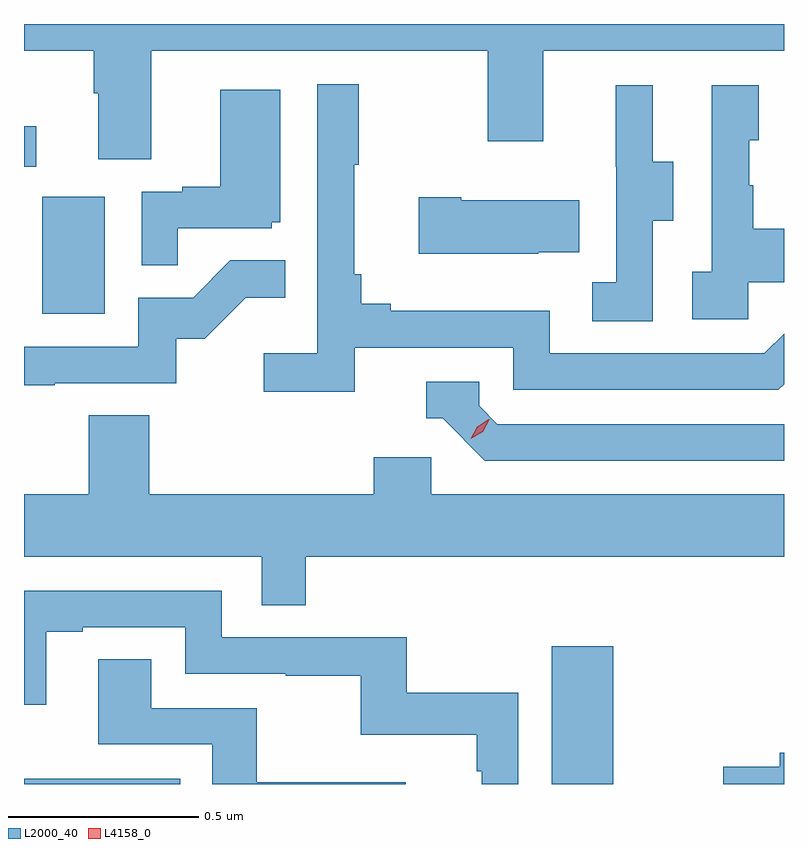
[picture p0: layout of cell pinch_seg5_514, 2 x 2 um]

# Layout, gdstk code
import gdstk
lib = gdstk.Library(unit=1e-6, precision=1e-09)
def R(c, l, rs):  # rectangles x0, y0, x1, y1
    for r in rs: c.add(gdstk.rectangle(r[:2], r[2:], *l))
def P(c, l, *ps):  # polygons
    for p in ps: c.add(gdstk.Polygon(p, *l))
L2000_40 = (2000, 40)
L4158_0 = (4158, 0)

pinch_seg5_514 = lib.new_cell('pinch_seg5_514')
R(pinch_seg5_514, L2000_40, [(937.166,849.502,937.577,849.516), (938.555,849.502,938.716,849.865), (937.214,850.74,937.378,851.047), (937.166,851.127,937.198,851.233)])
P(pinch_seg5_514, L2000_40, [(937.501,851.432),(938.386,851.432),(938.386,851.193),(938.533,851.193),(938.533,851.432),(939.166,851.432),(939.166,851.502),(937.166,851.502),(937.166,851.432),(937.349,851.432),(937.349,851.32),(937.361,851.32),(937.361,851.146),(937.501,851.146)],
  [(938.036,850.65),(938.454,850.65),(938.454,850.539),(939.151,850.539),(939.166,850.554),(939.166,850.687),(939.114,850.635),(938.55,850.635),(938.55,850.747),(938.131,850.747),(938.131,850.766),(938.054,850.766),(938.054,850.843),(938.035,850.843),(938.035,851.131),(938.047,851.131),(938.047,851.344),(937.938,851.344),(937.938,850.636),(937.797,850.636),(937.797,850.534),(938.036,850.534)],
  [(939.072,850.823),(939.166,850.823),(939.166,850.963),(939.085,850.963),(939.085,851.078),(939.075,851.078),(939.075,851.196),(939.1,851.196),(939.1,851.341),(938.976,851.341),(938.976,850.85),(938.925,850.85),(938.925,850.725),(939.072,850.725)],
  [(938.82,850.984),(938.875,850.984),(938.875,851.139),(938.821,851.139),(938.821,851.341),(938.723,851.341),(938.723,851.127),(938.724,851.127),(938.724,850.823),(938.661,850.823),(938.661,850.72),(938.82,850.72)],
  [(937.571,850.965),(937.818,850.965),(937.818,850.98),(937.84,850.98),(937.84,851.329),(937.682,851.329),(937.682,851.074),(937.583,851.074),(937.583,851.061),(937.476,851.061),(937.476,850.867),(937.571,850.867)],
  [(938.519,850.901),(938.627,850.901),(938.627,851.038),(938.317,851.038),(938.317,851.046),(938.205,851.046),(938.205,850.898),(938.519,850.898)],
  [(937.247,850.557),(937.566,850.557),(937.566,850.674),(937.642,850.674),(937.749,850.781),(937.853,850.781),(937.853,850.88),(937.709,850.88),(937.611,850.782),(937.467,850.782),(937.467,850.653),(937.166,850.653),(937.166,850.552),(937.247,850.552)],
  [(939.166,850.449),(938.412,850.449),(938.364,850.497),(938.364,850.56),(938.225,850.56),(938.225,850.464),(938.268,850.464),(938.379,850.353),(939.166,850.353)],
  [(937.907,850.1),(939.166,850.1),(939.166,850.264),(938.238,850.264),(938.238,850.362),(938.087,850.362),(938.087,850.264),(937.496,850.264),(937.496,850.472),(937.336,850.472),(937.336,850.264),(937.166,850.264),(937.166,850.1),(937.791,850.1),(937.791,849.973),(937.907,849.973)],
  [(938.466,849.742),(938.173,849.742),(938.173,849.888),(937.686,849.888),(937.686,850.011),(937.166,850.011),(937.166,849.71),(937.225,849.71),(937.225,849.903),(937.321,849.903),(937.321,849.915),(937.59,849.915),(937.59,849.792),(937.855,849.792),(937.855,849.787),(938.052,849.787),(938.052,849.632),(938.357,849.632),(938.357,849.536),(938.37,849.536),(938.37,849.502),(938.466,849.502)],
  [(938.171,849.506),(937.778,849.506),(937.778,849.702),(937.501,849.702),(937.501,849.83),(937.361,849.83),(937.361,849.606),(937.662,849.606),(937.662,849.502),(938.171,849.502)],
  [(939.166,849.584),(939.155,849.584),(939.155,849.548),(939.006,849.548),(939.006,849.502),(939.166,849.502)])
P(pinch_seg5_514, L4158_0, [(938.342,850.41),(938.342,850.41),(938.359,850.442),(938.389,850.462),(938.39,850.462),(938.39,850.461),(938.373,850.429),(938.342,850.41)])

lib.write_gds('pinch_seg5_514.gds')
